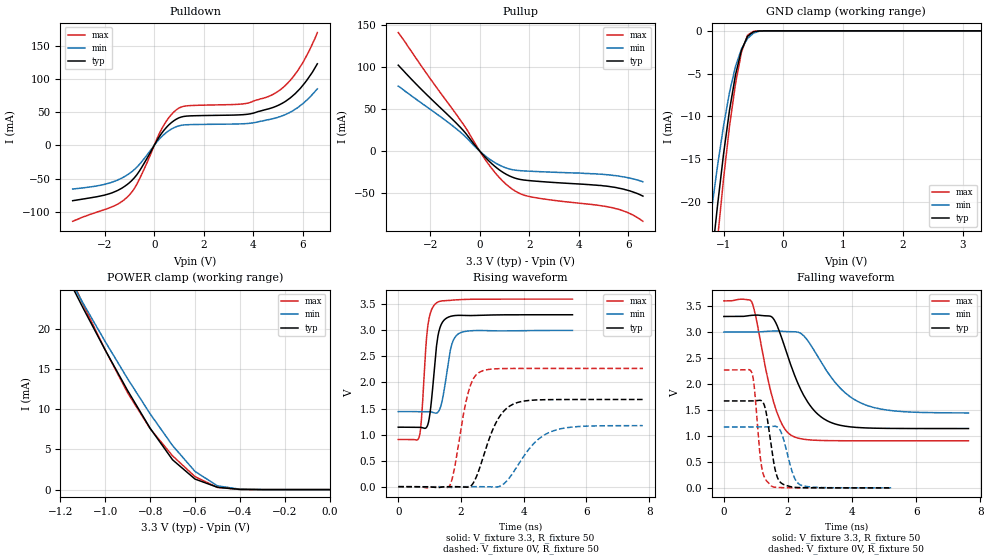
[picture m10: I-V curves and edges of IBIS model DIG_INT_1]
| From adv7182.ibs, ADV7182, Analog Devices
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[Model] DIG_INT_1
Model_type I/O
Vinl = 1.41V
Vinh = 1.64V
C_comp 1.963244pF 1.887567pF 2.011654pF
Vmeas = 1.50V
Cref = 10pF
[Model Spec]
| Subparameter   typ   min   max
| Thresholds
Vinh   1.51V   1.41V   1.64V
Vinl   1.51V   1.41V   1.64V
| Overshoot
S_overshoot_high   3.60V   3.30V   3.90V
S_overshoot_low   -0.30V   NA   NA
| Timing spec related
Vmeas   1.50V   1.45V   1.55V
Cref   10pF   NA   NA
| variable   typ   min   max
[Temperature Range]   55   125   -20
[Voltage Range]   3.30V   3.00V   3.60V
[Pulldown Reference]   0V   0V   0V
[Pullup Reference]   3.30V   3.00V   3.60V
[GND Clamp Reference]   0V   0V   0V
[POWER Clamp Reference]  3.30V   3.00V   3.60V
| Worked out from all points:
|   slope of the pulldown table from 0 to 0.495 V, typ, clamps not added: 18.3 ohm
|   slope of the pullup table from 0 to 0.495 V, typ, clamps not added: 32.8 ohm
|   GND clamp passes 1 mA (typ) near -0.62 V on its own axis
|   POWER clamp passes 1 mA (typ) near -0.57 V on its own axis
|   falling waveform, V_fixture 3.3, R_fixture 50: 20-80 % time 890ps typ, 1.17ns min, 591ps max; typ from 3.3 V to 1.14 V
|   falling waveform, V_fixture 0V, R_fixture 50: 20-80 % time 253ps typ, 313ps min, 197ps max; typ from 1.67 V to 0 V
|   rising waveform, V_fixture 3.3, R_fixture 50: 20-80 % time 213ps typ, 254ps min, 180ps max; typ from 1.14 V to 3.3 V
|   rising waveform, V_fixture 0V, R_fixture 50: 20-80 % time 641ps typ, 902ps min, 412ps max; typ from 0 V to 1.67 V
[Pulldown]
| Note: Vtable = Vpin
| Voltage   I(typ)   I(min)   I(max)
-3.3V     -83.42mA   -65.85mA   -114.5mA
-1.8V     -72.75mA   -56.72mA   -93.98mA
-1V       -56.19mA   -42.33mA   -74.54mA
-600mV    -38.8mA    -28.76mA   -50.97mA
300mV     18.15mA    13.04mA    24.6mA
900mV     39.54mA    28.11mA    53.65mA
1.3V      43.99mA    30.97mA    59.4mA
3.7V      46.5mA     32.67mA    62.97mA
4.8V      56.93mA    40.09mA    76.59mA
5.3V      65.95mA    46.2mA     90mA
5.8V      81.5mA     56.56mA    112mA
6.6V      122.8mA    85.1mA     169.9mA
[Pullup]
| Note: Vtable = VCC - Vpin
| Voltage   I(typ)   I(min)   I(max)
-3.3V     102.1mA    77.28mA    140.8mA
-2.4V     74.44mA    58.05mA    102.5mA
-1V       34.73mA    27.79mA    45.75mA
-600mV    22.28mA    17.73mA    29.15mA
300mV     -9.617mA   -7.357mA   -13.26mA
800mV     -22.37mA   -16.6mA    -31.59mA
1.2V      -29.34mA   -21.09mA   -42.55mA
1.6V      -33.32mA   -23.02mA   -49.95mA
2V        -34.87mA   -23.7mA    -53.77mA
5.4V      -42.62mA   -28.81mA   -67.27mA
6V        -46.5mA    -31.5mA    -73.02mA
6.6V      -53.28mA   -36.27mA   -83.19mA
[GND Clamp]
| Note: Vtable = Vpin
| Voltage   I(typ)   I(min)   I(max)
-3.3V     -214.5mA   -182.2mA   -244.6mA
-1.3V     -33.78mA   -26.51mA   -40.22mA
-1.2V     -26.88mA   -20.92mA   -32.08mA
-1.1V     -20.38mA   -15.76mA   -24.35mA
-1V       -14.41mA   -11.11mA   -17.31mA
-900mV    -9.263mA   -7.179mA   -11.14mA
-800mV    -5.132mA   -4.154mA   -6.171mA
-700mV    -2.246mA   -2.11mA    -2.492mA
-600mV    -645.3uA   -895.2uA   -512uA
-500mV    -103.9uA   -269.6uA   -54.66uA
-300mV    -1.056uA   -3.654uA   -143nA
3.3V      389.6pA    5.265uA    62.5pA
[Power Clamp]
| Note: Vtable = VCC - Vpin
| Voltage   I(typ)   I(min)   I(max)
-3.3V     180.3mA    166.5mA    204.1mA
-1.2V     28.12mA    28.24mA    29.18mA
-1.1V     22.63mA    23.22mA    23.11mA
-1V       17.33mA    18.39mA    17.33mA
-900mV    12.29mA    13.77mA    12.02mA
-800mV    7.625mA    9.419mA    7.573mA
-700mV    3.706mA    5.475mA    4.198mA
-600mV    1.311mA    2.262mA    1.61mA
-500mV    290.7uA    467.9uA    271.9uA
-400mV    28.65uA    52.2uA     13.9uA
0V        389.6pA    2.656nA    80.76pA
[Ramp]
| Variable   typ   min   max
dV/dt_r   1.00V/641.0753ps   0.70V/902.4591ps   1.36V/412.6976ps
dV/dt_f   1.29V/890.0235ps   0.84V/1.1227ns   1.63V/556.9989ps
R_load =  50
[Falling Waveform]
V_fixture =  3.3
R_fixture =  50
V_fixture_max =  3.6
V_fixture_min =  3
| R_dut = 0.23Ohm
| L_dut = 6.2nH
| C_dut = 1.05pF
| Time   V(typ)   V(min)   V(max)
0s        3.3V       3V         3.6V
874.5ps   3.322V     3V         3.572V
1.566ns   3.239V     3.021V     1.624V
1.849ns   2.805V     3.011V     1.185V
2.12ns    2.31V      3.007V     1.005V
2.709ns   1.569V     2.751V     921.9mV
3.441ns   1.236V     2.053V     907.9mV
4.037ns   1.169V     1.714V     906.2mV
4.769ns   1.148V     1.533V     905.7mV
7.629ns   1.142V     1.442V     905.5mV
[Falling Waveform]
V_fixture = 0V
R_fixture =  50
| R_dut = 0.23Ohm
| L_dut = 6.2nH
| C_dut = 1.05pF
| Time   V(typ)   V(min)   V(max)
0s        1.674V     1.172V     2.269V
865.6ps   1.673V     1.172V     2.227V
946.2ps   1.675V     1.172V     1.959V
1.185ns   1.673V     1.171V     381.7mV
1.317ns   1.46V      1.172V     146.8mV
1.493ns   737.8mV    1.181V     31.83mV
1.743ns   120.2mV    1.121V     5.787mV
2.157ns   13.63mV    261.9mV    1.416mV
2.393ns   4.694mV    55.69mV    688.5uV
5.237ns   9.937uV    123.2uV    2.711uV
[Rising Waveform]
V_fixture =  3.3
R_fixture =  50
V_fixture_max =  3.6
V_fixture_min =  3
| R_dut = 0.23Ohm
| L_dut = 6.2nH
| C_dut = 1.05pF
| Time   V(typ)   V(min)   V(max)
0s        1.142V     1.441V     905.5mV
674.2ps   1.141V     1.441V     968.5mV
740.9ps   1.136V     1.442V     1.305V
938.6ps   1.183V     1.441V     3.066V
1.049ns   1.591V     1.434V     3.376V
1.211ns   2.654V     1.412V     3.524V
1.412ns   3.159V     1.683V     3.567V
1.686ns   3.272V     2.683V     3.579V
1.937ns   3.289V     2.941V     3.589V
5.556ns   3.3V       3V         3.6V
[Rising Waveform]
| R_dut = 0.23Ohm
| L_dut = 6.2nH
| C_dut = 1.05pF
V_fixture = 0V
R_fixture =  50
| R_dut = 0.23Ohm
| L_dut = 6.2nH
| C_dut = 1.05pF
| Time   V(typ)   V(min)   V(max)
0s        34.97uV    38uV       20.16uV
1.632ns   221.5uV    -12.74mV   11.88mV
1.768ns   1.067mV    -12.9mV    277.7mV
2.237ns   -8.974mV   334.9uV    1.819V
2.635ns   430.4mV    -235.7uV   2.21V
3.167ns   1.284V     -3.924mV   2.264V
3.705ns   1.595V     307.6mV    2.269V
4.311ns   1.662V     821.2mV    2.269V
4.968ns   1.672V     1.077V     2.27V
7.802ns   1.674V     1.172V     2.27V
